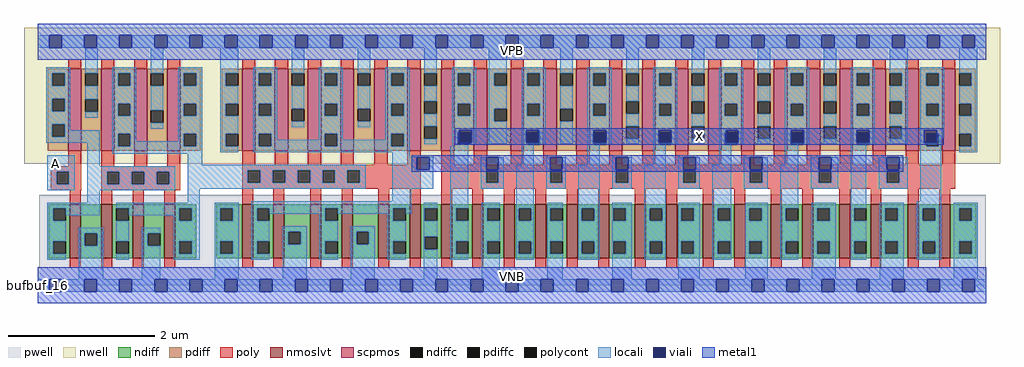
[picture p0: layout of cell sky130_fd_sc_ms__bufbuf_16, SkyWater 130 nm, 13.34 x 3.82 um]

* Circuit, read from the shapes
.subckt sky130_fd_sc_ms__bufbuf_16 A VGND VNB VPB VPWR X
XM1 VGND A n1 VNB sky130_fd_pr__nfet_01v8_lvt w=0.74 l=0.15
XM2 n2 n1 VGND VNB sky130_fd_pr__nfet_01v8_lvt w=0.74 l=0.15 m=3
XM3 n3 n2 VGND VNB sky130_fd_pr__nfet_01v8_lvt w=0.74 l=0.15 m=6
XM4 X n3 VGND VNB sky130_fd_pr__nfet_01v8_lvt w=0.74 l=0.15 m=16
XM5 VPWR A n1 VPB sky130_fd_pr__pfet_01v8 w=1.12 l=0.18
XM6 n2 n1 VPWR VPB sky130_fd_pr__pfet_01v8 w=1.12 l=0.18 m=3
XM7 n3 n2 VPWR VPB sky130_fd_pr__pfet_01v8 w=1.12 l=0.18 m=6
XM8 X n3 VPWR VPB sky130_fd_pr__pfet_01v8 w=1.12 l=0.18 m=16
.ends

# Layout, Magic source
magic
tech sky130A
magscale 1 2
<< nwell >>
rect -38 332 2630 704
<< pwell >>
rect 4 49 2591 248
rect 0 0 2592 49
<< scpmos >>
rect 83 368 119 592
rect 173 368 209 592
rect 263 368 299 592
rect 353 368 389 592
rect 558 368 594 592
rect 648 368 684 592
rect 738 368 774 592
rect 828 368 864 592
rect 920 368 956 592
rect 1010 368 1046 592
rect 1102 368 1138 592
rect 1192 368 1228 592
rect 1292 368 1328 592
rect 1382 368 1418 592
rect 1472 368 1508 592
rect 1562 368 1598 592
rect 1652 368 1688 592
rect 1742 368 1778 592
rect 1832 368 1868 592
rect 1922 368 1958 592
rect 2012 368 2048 592
rect 2102 368 2138 592
rect 2192 368 2228 592
rect 2282 368 2318 592
rect 2372 368 2408 592
rect 2472 368 2508 592
<< nmoslvt >>
rect 87 74 117 222
rect 173 74 203 222
rect 259 74 289 222
rect 346 74 376 222
rect 558 74 588 222
rect 644 74 674 222
rect 744 74 774 222
rect 830 74 860 222
rect 930 74 960 222
rect 1016 74 1046 222
rect 1102 74 1132 222
rect 1188 74 1218 222
rect 1274 74 1304 222
rect 1360 74 1390 222
rect 1446 74 1476 222
rect 1532 74 1562 222
rect 1632 74 1662 222
rect 1718 74 1748 222
rect 1818 74 1848 222
rect 1904 74 1934 222
rect 2004 74 2034 222
rect 2090 74 2120 222
rect 2190 74 2220 222
rect 2276 74 2306 222
rect 2378 74 2408 222
rect 2464 74 2494 222
<< ndiff >>
rect 30 210 87 222
rect 30 176 42 210
rect 76 176 87 210
rect 30 120 87 176
rect 30 86 42 120
rect 76 86 87 120
rect 30 74 87 86
rect 117 142 173 222
rect 117 108 128 142
rect 162 108 173 142
rect 117 74 173 108
rect 203 210 259 222
rect 203 176 214 210
rect 248 176 259 210
rect 203 120 259 176
rect 203 86 214 120
rect 248 86 259 120
rect 203 74 259 86
rect 289 142 346 222
rect 289 108 300 142
rect 334 108 346 142
rect 289 74 346 108
rect 376 210 433 222
rect 376 176 387 210
rect 421 176 433 210
rect 376 120 433 176
rect 376 86 387 120
rect 421 86 433 120
rect 376 74 433 86
rect 487 210 558 222
rect 487 176 499 210
rect 533 176 558 210
rect 487 120 558 176
rect 487 86 499 120
rect 533 86 558 120
rect 487 74 558 86
rect 588 210 644 222
rect 588 176 599 210
rect 633 176 644 210
rect 588 120 644 176
rect 588 86 599 120
rect 633 86 644 120
rect 588 74 644 86
rect 674 146 744 222
rect 674 112 685 146
rect 719 112 744 146
rect 674 74 744 112
rect 774 210 830 222
rect 774 176 785 210
rect 819 176 830 210
rect 774 120 830 176
rect 774 86 785 120
rect 819 86 830 120
rect 774 74 830 86
rect 860 146 930 222
rect 860 112 871 146
rect 905 112 930 146
rect 860 74 930 112
rect 960 210 1016 222
rect 960 176 971 210
rect 1005 176 1016 210
rect 960 120 1016 176
rect 960 86 971 120
rect 1005 86 1016 120
rect 960 74 1016 86
rect 1046 210 1102 222
rect 1046 176 1057 210
rect 1091 176 1102 210
rect 1046 133 1102 176
rect 1046 99 1057 133
rect 1091 99 1102 133
rect 1046 74 1102 99
rect 1132 210 1188 222
rect 1132 176 1143 210
rect 1177 176 1188 210
rect 1132 120 1188 176
rect 1132 86 1143 120
rect 1177 86 1188 120
rect 1132 74 1188 86
rect 1218 210 1274 222
rect 1218 176 1229 210
rect 1263 176 1274 210
rect 1218 120 1274 176
rect 1218 86 1229 120
rect 1263 86 1274 120
rect 1218 74 1274 86
rect 1304 210 1360 222
rect 1304 176 1315 210
rect 1349 176 1360 210
rect 1304 120 1360 176
rect 1304 86 1315 120
rect 1349 86 1360 120
rect 1304 74 1360 86
rect 1390 210 1446 222
rect 1390 176 1401 210
rect 1435 176 1446 210
rect 1390 120 1446 176
rect 1390 86 1401 120
rect 1435 86 1446 120
rect 1390 74 1446 86
rect 1476 210 1532 222
rect 1476 176 1487 210
rect 1521 176 1532 210
rect 1476 120 1532 176
rect 1476 86 1487 120
rect 1521 86 1532 120
rect 1476 74 1532 86
rect 1562 210 1632 222
rect 1562 176 1573 210
rect 1607 176 1632 210
rect 1562 120 1632 176
rect 1562 86 1573 120
rect 1607 86 1632 120
rect 1562 74 1632 86
rect 1662 210 1718 222
rect 1662 176 1673 210
rect 1707 176 1718 210
rect 1662 120 1718 176
rect 1662 86 1673 120
rect 1707 86 1718 120
rect 1662 74 1718 86
rect 1748 210 1818 222
rect 1748 176 1759 210
rect 1793 176 1818 210
rect 1748 120 1818 176
rect 1748 86 1759 120
rect 1793 86 1818 120
rect 1748 74 1818 86
rect 1848 210 1904 222
rect 1848 176 1859 210
rect 1893 176 1904 210
rect 1848 120 1904 176
rect 1848 86 1859 120
rect 1893 86 1904 120
rect 1848 74 1904 86
rect 1934 210 2004 222
rect 1934 176 1945 210
rect 1979 176 2004 210
rect 1934 120 2004 176
rect 1934 86 1945 120
rect 1979 86 2004 120
rect 1934 74 2004 86
rect 2034 210 2090 222
rect 2034 176 2045 210
rect 2079 176 2090 210
rect 2034 120 2090 176
rect 2034 86 2045 120
rect 2079 86 2090 120
rect 2034 74 2090 86
rect 2120 210 2190 222
rect 2120 176 2131 210
rect 2165 176 2190 210
rect 2120 120 2190 176
rect 2120 86 2131 120
rect 2165 86 2190 120
rect 2120 74 2190 86
rect 2220 210 2276 222
rect 2220 176 2231 210
rect 2265 176 2276 210
rect 2220 120 2276 176
rect 2220 86 2231 120
rect 2265 86 2276 120
rect 2220 74 2276 86
rect 2306 210 2378 222
rect 2306 176 2317 210
rect 2351 176 2378 210
rect 2306 120 2378 176
rect 2306 86 2317 120
rect 2351 86 2378 120
rect 2306 74 2378 86
rect 2408 210 2464 222
rect 2408 176 2419 210
rect 2453 176 2464 210
rect 2408 120 2464 176
rect 2408 86 2419 120
rect 2453 86 2464 120
rect 2408 74 2464 86
rect 2494 210 2565 222
rect 2494 176 2519 210
rect 2553 176 2565 210
rect 2494 120 2565 176
rect 2494 86 2519 120
rect 2553 86 2565 120
rect 2494 74 2565 86
<< pdiff >>
rect 27 580 83 592
rect 27 546 39 580
rect 73 546 83 580
rect 27 510 83 546
rect 27 476 39 510
rect 73 476 83 510
rect 27 440 83 476
rect 27 406 39 440
rect 73 406 83 440
rect 27 368 83 406
rect 119 580 173 592
rect 119 546 129 580
rect 163 546 173 580
rect 119 508 173 546
rect 119 474 129 508
rect 163 474 173 508
rect 119 368 173 474
rect 209 580 263 592
rect 209 546 219 580
rect 253 546 263 580
rect 209 497 263 546
rect 209 463 219 497
rect 253 463 263 497
rect 209 414 263 463
rect 209 380 219 414
rect 253 380 263 414
rect 209 368 263 380
rect 299 580 353 592
rect 299 546 309 580
rect 343 546 353 580
rect 299 478 353 546
rect 299 444 309 478
rect 343 444 353 478
rect 299 368 353 444
rect 389 580 445 592
rect 389 546 399 580
rect 433 546 445 580
rect 389 497 445 546
rect 389 463 399 497
rect 433 463 445 497
rect 389 414 445 463
rect 389 380 399 414
rect 433 380 445 414
rect 389 368 445 380
rect 502 580 558 592
rect 502 546 514 580
rect 548 546 558 580
rect 502 497 558 546
rect 502 463 514 497
rect 548 463 558 497
rect 502 414 558 463
rect 502 380 514 414
rect 548 380 558 414
rect 502 368 558 380
rect 594 580 648 592
rect 594 546 604 580
rect 638 546 648 580
rect 594 497 648 546
rect 594 463 604 497
rect 638 463 648 497
rect 594 414 648 463
rect 594 380 604 414
rect 638 380 648 414
rect 594 368 648 380
rect 684 580 738 592
rect 684 546 694 580
rect 728 546 738 580
rect 684 482 738 546
rect 684 448 694 482
rect 728 448 738 482
rect 684 368 738 448
rect 774 580 828 592
rect 774 546 784 580
rect 818 546 828 580
rect 774 497 828 546
rect 774 463 784 497
rect 818 463 828 497
rect 774 414 828 463
rect 774 380 784 414
rect 818 380 828 414
rect 774 368 828 380
rect 864 580 920 592
rect 864 546 874 580
rect 908 546 920 580
rect 864 482 920 546
rect 864 448 874 482
rect 908 448 920 482
rect 864 368 920 448
rect 956 580 1010 592
rect 956 546 966 580
rect 1000 546 1010 580
rect 956 497 1010 546
rect 956 463 966 497
rect 1000 463 1010 497
rect 956 414 1010 463
rect 956 380 966 414
rect 1000 380 1010 414
rect 956 368 1010 380
rect 1046 580 1102 592
rect 1046 546 1056 580
rect 1090 546 1102 580
rect 1046 503 1102 546
rect 1046 469 1056 503
rect 1090 469 1102 503
rect 1046 435 1102 469
rect 1046 401 1056 435
rect 1090 401 1102 435
rect 1046 368 1102 401
rect 1138 580 1192 592
rect 1138 546 1148 580
rect 1182 546 1192 580
rect 1138 497 1192 546
rect 1138 463 1148 497
rect 1182 463 1192 497
rect 1138 419 1192 463
rect 1138 385 1148 419
rect 1182 385 1192 419
rect 1138 368 1192 385
rect 1228 580 1292 592
rect 1228 546 1248 580
rect 1282 546 1292 580
rect 1228 482 1292 546
rect 1228 448 1248 482
rect 1282 448 1292 482
rect 1228 368 1292 448
rect 1328 580 1382 592
rect 1328 546 1338 580
rect 1372 546 1382 580
rect 1328 497 1382 546
rect 1328 463 1338 497
rect 1372 463 1382 497
rect 1328 418 1382 463
rect 1328 384 1338 418
rect 1372 384 1382 418
rect 1328 368 1382 384
rect 1418 580 1472 592
rect 1418 546 1428 580
rect 1462 546 1472 580
rect 1418 482 1472 546
rect 1418 448 1428 482
rect 1462 448 1472 482
rect 1418 368 1472 448
rect 1508 580 1562 592
rect 1508 546 1518 580
rect 1552 546 1562 580
rect 1508 497 1562 546
rect 1508 463 1518 497
rect 1552 463 1562 497
rect 1508 418 1562 463
rect 1508 384 1518 418
rect 1552 384 1562 418
rect 1508 368 1562 384
rect 1598 580 1652 592
rect 1598 546 1608 580
rect 1642 546 1652 580
rect 1598 503 1652 546
rect 1598 469 1608 503
rect 1642 469 1652 503
rect 1598 435 1652 469
rect 1598 401 1608 435
rect 1642 401 1652 435
rect 1598 368 1652 401
rect 1688 580 1742 592
rect 1688 546 1698 580
rect 1732 546 1742 580
rect 1688 497 1742 546
rect 1688 463 1698 497
rect 1732 463 1742 497
rect 1688 418 1742 463
rect 1688 384 1698 418
rect 1732 384 1742 418
rect 1688 368 1742 384
rect 1778 580 1832 592
rect 1778 546 1788 580
rect 1822 546 1832 580
rect 1778 503 1832 546
rect 1778 469 1788 503
rect 1822 469 1832 503
rect 1778 435 1832 469
rect 1778 401 1788 435
rect 1822 401 1832 435
rect 1778 368 1832 401
rect 1868 580 1922 592
rect 1868 546 1878 580
rect 1912 546 1922 580
rect 1868 497 1922 546
rect 1868 463 1878 497
rect 1912 463 1922 497
rect 1868 418 1922 463
rect 1868 384 1878 418
rect 1912 384 1922 418
rect 1868 368 1922 384
rect 1958 580 2012 592
rect 1958 546 1968 580
rect 2002 546 2012 580
rect 1958 503 2012 546
rect 1958 469 1968 503
rect 2002 469 2012 503
rect 1958 435 2012 469
rect 1958 401 1968 435
rect 2002 401 2012 435
rect 1958 368 2012 401
rect 2048 580 2102 592
rect 2048 546 2058 580
rect 2092 546 2102 580
rect 2048 497 2102 546
rect 2048 463 2058 497
rect 2092 463 2102 497
rect 2048 418 2102 463
rect 2048 384 2058 418
rect 2092 384 2102 418
rect 2048 368 2102 384
rect 2138 580 2192 592
rect 2138 546 2148 580
rect 2182 546 2192 580
rect 2138 503 2192 546
rect 2138 469 2148 503
rect 2182 469 2192 503
rect 2138 435 2192 469
rect 2138 401 2148 435
rect 2182 401 2192 435
rect 2138 368 2192 401
rect 2228 580 2282 592
rect 2228 546 2238 580
rect 2272 546 2282 580
rect 2228 497 2282 546
rect 2228 463 2238 497
rect 2272 463 2282 497
rect 2228 418 2282 463
rect 2228 384 2238 418
rect 2272 384 2282 418
rect 2228 368 2282 384
rect 2318 580 2372 592
rect 2318 546 2328 580
rect 2362 546 2372 580
rect 2318 503 2372 546
rect 2318 469 2328 503
rect 2362 469 2372 503
rect 2318 435 2372 469
rect 2318 401 2328 435
rect 2362 401 2372 435
rect 2318 368 2372 401
rect 2408 580 2472 592
rect 2408 546 2428 580
rect 2462 546 2472 580
rect 2408 497 2472 546
rect 2408 463 2428 497
rect 2462 463 2472 497
rect 2408 414 2472 463
rect 2408 380 2428 414
rect 2462 380 2472 414
rect 2408 368 2472 380
rect 2508 580 2564 592
rect 2508 546 2518 580
rect 2552 546 2564 580
rect 2508 497 2564 546
rect 2508 463 2518 497
rect 2552 463 2564 497
rect 2508 414 2564 463
rect 2508 380 2518 414
rect 2552 380 2564 414
rect 2508 368 2564 380
<< ndiffc >>
rect 42 176 76 210
rect 42 86 76 120
rect 128 108 162 142
rect 214 176 248 210
rect 214 86 248 120
rect 300 108 334 142
rect 387 176 421 210
rect 387 86 421 120
rect 499 176 533 210
rect 499 86 533 120
rect 599 176 633 210
rect 599 86 633 120
rect 685 112 719 146
rect 785 176 819 210
rect 785 86 819 120
rect 871 112 905 146
rect 971 176 1005 210
rect 971 86 1005 120
rect 1057 176 1091 210
rect 1057 99 1091 133
rect 1143 176 1177 210
rect 1143 86 1177 120
rect 1229 176 1263 210
rect 1229 86 1263 120
rect 1315 176 1349 210
rect 1315 86 1349 120
rect 1401 176 1435 210
rect 1401 86 1435 120
rect 1487 176 1521 210
rect 1487 86 1521 120
rect 1573 176 1607 210
rect 1573 86 1607 120
rect 1673 176 1707 210
rect 1673 86 1707 120
rect 1759 176 1793 210
rect 1759 86 1793 120
rect 1859 176 1893 210
rect 1859 86 1893 120
rect 1945 176 1979 210
rect 1945 86 1979 120
rect 2045 176 2079 210
rect 2045 86 2079 120
rect 2131 176 2165 210
rect 2131 86 2165 120
rect 2231 176 2265 210
rect 2231 86 2265 120
rect 2317 176 2351 210
rect 2317 86 2351 120
rect 2419 176 2453 210
rect 2419 86 2453 120
rect 2519 176 2553 210
rect 2519 86 2553 120
<< pdiffc >>
rect 39 546 73 580
rect 39 476 73 510
rect 39 406 73 440
rect 129 546 163 580
rect 129 474 163 508
rect 219 546 253 580
rect 219 463 253 497
rect 219 380 253 414
rect 309 546 343 580
rect 309 444 343 478
rect 399 546 433 580
rect 399 463 433 497
rect 399 380 433 414
rect 514 546 548 580
rect 514 463 548 497
rect 514 380 548 414
rect 604 546 638 580
rect 604 463 638 497
rect 604 380 638 414
rect 694 546 728 580
rect 694 448 728 482
rect 784 546 818 580
rect 784 463 818 497
rect 784 380 818 414
rect 874 546 908 580
rect 874 448 908 482
rect 966 546 1000 580
rect 966 463 1000 497
rect 966 380 1000 414
rect 1056 546 1090 580
rect 1056 469 1090 503
rect 1056 401 1090 435
rect 1148 546 1182 580
rect 1148 463 1182 497
rect 1148 385 1182 419
rect 1248 546 1282 580
rect 1248 448 1282 482
rect 1338 546 1372 580
rect 1338 463 1372 497
rect 1338 384 1372 418
rect 1428 546 1462 580
rect 1428 448 1462 482
rect 1518 546 1552 580
rect 1518 463 1552 497
rect 1518 384 1552 418
rect 1608 546 1642 580
rect 1608 469 1642 503
rect 1608 401 1642 435
rect 1698 546 1732 580
rect 1698 463 1732 497
rect 1698 384 1732 418
rect 1788 546 1822 580
rect 1788 469 1822 503
rect 1788 401 1822 435
rect 1878 546 1912 580
rect 1878 463 1912 497
rect 1878 384 1912 418
rect 1968 546 2002 580
rect 1968 469 2002 503
rect 1968 401 2002 435
rect 2058 546 2092 580
rect 2058 463 2092 497
rect 2058 384 2092 418
rect 2148 546 2182 580
rect 2148 469 2182 503
rect 2148 401 2182 435
rect 2238 546 2272 580
rect 2238 463 2272 497
rect 2238 384 2272 418
rect 2328 546 2362 580
rect 2328 469 2362 503
rect 2328 401 2362 435
rect 2428 546 2462 580
rect 2428 463 2462 497
rect 2428 380 2462 414
rect 2518 546 2552 580
rect 2518 463 2552 497
rect 2518 380 2552 414
<< poly >>
rect 83 592 119 618
rect 173 592 209 618
rect 263 592 299 618
rect 353 592 389 618
rect 558 592 594 618
rect 648 592 684 618
rect 738 592 774 618
rect 828 592 864 618
rect 920 592 956 618
rect 1010 592 1046 618
rect 1102 592 1138 618
rect 1192 592 1228 618
rect 1292 592 1328 618
rect 1382 592 1418 618
rect 1472 592 1508 618
rect 1562 592 1598 618
rect 1652 592 1688 618
rect 1742 592 1778 618
rect 1832 592 1868 618
rect 1922 592 1958 618
rect 2012 592 2048 618
rect 2102 592 2138 618
rect 2192 592 2228 618
rect 2282 592 2318 618
rect 2372 592 2408 618
rect 2472 592 2508 618
rect 83 326 119 368
rect 35 310 119 326
rect 35 276 51 310
rect 85 276 119 310
rect 35 260 119 276
rect 173 326 209 368
rect 263 326 299 368
rect 353 326 389 368
rect 173 310 389 326
rect 173 276 189 310
rect 223 276 257 310
rect 291 276 325 310
rect 359 276 389 310
rect 173 260 389 276
rect 558 330 594 368
rect 648 330 684 368
rect 738 330 774 368
rect 828 330 864 368
rect 920 330 956 368
rect 1010 330 1046 368
rect 558 314 1046 330
rect 558 280 574 314
rect 608 280 642 314
rect 676 280 710 314
rect 744 280 778 314
rect 812 280 846 314
rect 880 280 1046 314
rect 558 264 1046 280
rect 87 222 117 260
rect 173 222 203 260
rect 259 222 289 260
rect 346 222 376 260
rect 558 222 588 264
rect 644 222 674 264
rect 744 222 774 264
rect 830 222 860 264
rect 930 222 960 264
rect 1016 222 1046 264
rect 1102 330 1138 368
rect 1192 330 1228 368
rect 1292 330 1328 368
rect 1382 330 1418 368
rect 1472 330 1508 368
rect 1562 330 1598 368
rect 1652 330 1688 368
rect 1742 330 1778 368
rect 1832 330 1868 368
rect 1922 330 1958 368
rect 2012 330 2048 368
rect 2102 330 2138 368
rect 2192 330 2228 368
rect 2282 330 2318 368
rect 2372 330 2408 368
rect 2472 330 2508 368
rect 1102 314 2508 330
rect 1102 280 1225 314
rect 1259 280 1400 314
rect 1434 280 1580 314
rect 1614 280 1764 314
rect 1798 280 1946 314
rect 1980 280 2135 314
rect 2169 280 2320 314
rect 2354 280 2508 314
rect 1102 264 2508 280
rect 1102 222 1132 264
rect 1188 222 1218 264
rect 1274 222 1304 264
rect 1360 222 1390 264
rect 1446 222 1476 264
rect 1532 222 1562 264
rect 1632 222 1662 264
rect 1718 222 1748 264
rect 1818 222 1848 264
rect 1904 222 1934 264
rect 2004 222 2034 264
rect 2090 222 2120 264
rect 2190 222 2220 264
rect 2276 222 2306 264
rect 2378 222 2408 264
rect 2464 222 2494 264
rect 87 48 117 74
rect 173 48 203 74
rect 259 48 289 74
rect 346 48 376 74
rect 558 48 588 74
rect 644 48 674 74
rect 744 48 774 74
rect 830 48 860 74
rect 930 48 960 74
rect 1016 48 1046 74
rect 1102 48 1132 74
rect 1188 48 1218 74
rect 1274 48 1304 74
rect 1360 48 1390 74
rect 1446 48 1476 74
rect 1532 48 1562 74
rect 1632 48 1662 74
rect 1718 48 1748 74
rect 1818 48 1848 74
rect 1904 48 1934 74
rect 2004 48 2034 74
rect 2090 48 2120 74
rect 2190 48 2220 74
rect 2276 48 2306 74
rect 2378 48 2408 74
rect 2464 48 2494 74
<< polycont >>
rect 51 276 85 310
rect 189 276 223 310
rect 257 276 291 310
rect 325 276 359 310
rect 574 280 608 314
rect 642 280 676 314
rect 710 280 744 314
rect 778 280 812 314
rect 846 280 880 314
rect 1225 280 1259 314
rect 1400 280 1434 314
rect 1580 280 1614 314
rect 1764 280 1798 314
rect 1946 280 1980 314
rect 2135 280 2169 314
rect 2320 280 2354 314
<< locali >>
rect 0 649 31 683
rect 65 649 127 683
rect 161 649 223 683
rect 257 649 319 683
rect 353 649 415 683
rect 449 649 511 683
rect 545 649 607 683
rect 641 649 703 683
rect 737 649 799 683
rect 833 649 895 683
rect 929 649 991 683
rect 1025 649 1087 683
rect 1121 649 1183 683
rect 1217 649 1279 683
rect 1313 649 1375 683
rect 1409 649 1471 683
rect 1505 649 1567 683
rect 1601 649 1663 683
rect 1697 649 1759 683
rect 1793 649 1855 683
rect 1889 649 1951 683
rect 1985 649 2047 683
rect 2081 649 2143 683
rect 2177 649 2239 683
rect 2273 649 2335 683
rect 2369 649 2431 683
rect 2465 649 2527 683
rect 2561 649 2592 683
rect 23 580 89 596
rect 23 546 39 580
rect 73 546 89 580
rect 23 510 89 546
rect 23 476 39 510
rect 73 476 89 510
rect 23 440 89 476
rect 129 580 163 649
rect 129 508 163 546
rect 129 458 163 474
rect 203 580 269 596
rect 203 546 219 580
rect 253 546 269 580
rect 203 497 269 546
rect 203 463 219 497
rect 253 463 269 497
rect 23 406 39 440
rect 73 424 89 440
rect 73 406 169 424
rect 23 390 169 406
rect 25 310 101 356
rect 25 276 51 310
rect 85 276 101 310
rect 25 260 101 276
rect 135 326 169 390
rect 203 414 269 463
rect 309 580 343 649
rect 309 478 343 546
rect 309 428 343 444
rect 383 580 449 596
rect 383 546 399 580
rect 433 546 449 580
rect 383 497 449 546
rect 383 463 399 497
rect 433 463 449 497
rect 203 380 219 414
rect 253 394 269 414
rect 383 414 449 463
rect 383 394 399 414
rect 253 380 399 394
rect 433 380 449 414
rect 203 360 449 380
rect 498 580 548 649
rect 498 546 514 580
rect 498 497 548 546
rect 498 463 514 497
rect 498 414 548 463
rect 498 380 514 414
rect 498 364 548 380
rect 588 580 654 596
rect 588 546 604 580
rect 638 546 654 580
rect 588 497 654 546
rect 588 463 604 497
rect 638 463 654 497
rect 588 414 654 463
rect 694 580 728 649
rect 694 482 728 546
rect 694 432 728 448
rect 768 580 834 596
rect 768 546 784 580
rect 818 546 834 580
rect 768 497 834 546
rect 768 463 784 497
rect 818 463 834 497
rect 588 380 604 414
rect 638 398 654 414
rect 768 414 834 463
rect 874 580 908 649
rect 874 482 908 546
rect 874 432 908 448
rect 950 580 1016 596
rect 950 546 966 580
rect 1000 546 1016 580
rect 950 497 1016 546
rect 950 463 966 497
rect 1000 463 1016 497
rect 768 398 784 414
rect 638 380 784 398
rect 818 398 834 414
rect 950 414 1016 463
rect 950 398 966 414
rect 818 380 966 398
rect 1000 380 1016 414
rect 1056 580 1090 649
rect 1056 503 1090 546
rect 1056 435 1090 469
rect 1056 385 1090 401
rect 1132 580 1198 596
rect 1132 546 1148 580
rect 1182 546 1198 580
rect 1132 497 1198 546
rect 1132 463 1148 497
rect 1182 463 1198 497
rect 1132 424 1198 463
rect 1132 419 1152 424
rect 1132 385 1148 419
rect 1186 390 1198 424
rect 1182 385 1198 390
rect 1232 580 1282 649
rect 1232 546 1248 580
rect 1232 482 1282 546
rect 1232 448 1248 482
rect 1232 385 1282 448
rect 1322 580 1388 596
rect 1322 546 1338 580
rect 1372 546 1388 580
rect 1322 497 1388 546
rect 1322 463 1338 497
rect 1372 463 1388 497
rect 1322 424 1388 463
rect 1322 390 1335 424
rect 1369 418 1388 424
rect 1132 384 1198 385
rect 1322 384 1338 390
rect 1372 384 1388 418
rect 1428 580 1462 649
rect 1428 482 1462 546
rect 1428 385 1462 448
rect 1502 580 1568 596
rect 1502 546 1518 580
rect 1552 546 1568 580
rect 1502 497 1568 546
rect 1502 463 1518 497
rect 1552 463 1568 497
rect 1502 424 1568 463
rect 1502 418 1519 424
rect 1502 384 1518 418
rect 1553 390 1568 424
rect 1552 384 1568 390
rect 1608 580 1642 649
rect 1608 503 1642 546
rect 1608 435 1642 469
rect 1608 385 1642 401
rect 1682 580 1748 596
rect 1682 546 1698 580
rect 1732 546 1748 580
rect 1682 497 1748 546
rect 1682 463 1698 497
rect 1732 463 1748 497
rect 1682 424 1748 463
rect 1682 390 1697 424
rect 1731 418 1748 424
rect 1682 384 1698 390
rect 1732 384 1748 418
rect 1788 580 1822 649
rect 1788 503 1822 546
rect 1788 435 1822 469
rect 1788 385 1822 401
rect 1862 580 1928 596
rect 1862 546 1878 580
rect 1912 546 1928 580
rect 1862 497 1928 546
rect 1862 463 1878 497
rect 1912 463 1928 497
rect 1862 424 1928 463
rect 1862 418 1881 424
rect 1862 384 1878 418
rect 1915 390 1928 424
rect 1912 384 1928 390
rect 1968 580 2002 649
rect 1968 503 2002 546
rect 1968 435 2002 469
rect 1968 385 2002 401
rect 2042 580 2108 596
rect 2042 546 2058 580
rect 2092 546 2108 580
rect 2042 497 2108 546
rect 2042 463 2058 497
rect 2092 463 2108 497
rect 2042 424 2108 463
rect 2042 418 2059 424
rect 2042 384 2058 418
rect 2093 390 2108 424
rect 2092 384 2108 390
rect 2148 580 2182 649
rect 2148 503 2182 546
rect 2148 435 2182 469
rect 2148 385 2182 401
rect 2222 580 2288 596
rect 2222 546 2238 580
rect 2272 546 2288 580
rect 2222 497 2288 546
rect 2222 463 2238 497
rect 2272 463 2288 497
rect 2222 424 2288 463
rect 2222 418 2239 424
rect 2222 384 2238 418
rect 2273 390 2288 424
rect 2272 384 2288 390
rect 2328 580 2378 649
rect 2362 546 2378 580
rect 2328 503 2378 546
rect 2362 469 2378 503
rect 2328 435 2378 469
rect 2362 401 2378 435
rect 2328 385 2378 401
rect 2412 580 2478 596
rect 2412 546 2428 580
rect 2462 546 2478 580
rect 2412 497 2478 546
rect 2412 463 2428 497
rect 2462 463 2478 497
rect 2412 424 2478 463
rect 2412 390 2423 424
rect 2457 414 2478 424
rect 2462 404 2478 414
rect 2518 580 2568 649
rect 2552 546 2568 580
rect 2518 497 2568 546
rect 2552 463 2568 497
rect 2518 414 2568 463
rect 1132 380 1177 384
rect 588 364 1016 380
rect 409 330 449 360
rect 969 351 1016 364
rect 969 350 1081 351
rect 135 310 375 326
rect 135 276 189 310
rect 223 276 257 310
rect 291 276 325 310
rect 359 276 375 310
rect 135 260 375 276
rect 409 314 896 330
rect 409 280 574 314
rect 608 280 642 314
rect 676 280 710 314
rect 744 280 778 314
rect 812 280 846 314
rect 880 280 896 314
rect 409 264 896 280
rect 969 316 1036 350
rect 1070 316 1081 350
rect 969 264 1081 316
rect 135 226 169 260
rect 409 226 443 264
rect 969 230 1021 264
rect 26 210 169 226
rect 26 176 42 210
rect 76 192 169 210
rect 214 210 443 226
rect 26 120 76 176
rect 248 192 387 210
rect 26 86 42 120
rect 26 70 76 86
rect 112 142 178 158
rect 112 108 128 142
rect 162 108 178 142
rect 112 17 178 108
rect 214 120 248 176
rect 371 176 387 192
rect 421 176 443 210
rect 214 70 248 86
rect 284 142 334 158
rect 284 108 300 142
rect 284 17 334 108
rect 371 120 443 176
rect 371 86 387 120
rect 421 86 443 120
rect 371 70 443 86
rect 483 210 549 226
rect 483 176 499 210
rect 533 176 549 210
rect 483 120 549 176
rect 483 86 499 120
rect 533 86 549 120
rect 483 17 549 86
rect 583 210 1021 230
rect 583 176 599 210
rect 633 196 785 210
rect 583 120 633 176
rect 769 176 785 196
rect 819 196 971 210
rect 583 86 599 120
rect 583 70 633 86
rect 669 146 735 162
rect 669 112 685 146
rect 719 112 735 146
rect 669 17 735 112
rect 769 120 819 176
rect 955 176 971 196
rect 1005 196 1021 210
rect 1055 210 1091 226
rect 769 86 785 120
rect 769 70 819 86
rect 855 146 921 162
rect 855 112 871 146
rect 905 112 921 146
rect 855 17 921 112
rect 955 120 1005 176
rect 955 86 971 120
rect 955 70 1005 86
rect 1055 176 1057 210
rect 1055 133 1091 176
rect 1055 99 1057 133
rect 1055 17 1091 99
rect 1127 210 1177 380
rect 1211 316 1225 350
rect 1259 316 1273 350
rect 1322 330 1356 384
rect 1211 314 1273 316
rect 1211 280 1225 314
rect 1259 280 1273 314
rect 1211 264 1273 280
rect 1127 176 1143 210
rect 1127 120 1177 176
rect 1127 86 1143 120
rect 1127 70 1177 86
rect 1213 210 1263 226
rect 1213 176 1229 210
rect 1213 120 1263 176
rect 1213 86 1229 120
rect 1213 17 1263 86
rect 1307 210 1356 330
rect 1390 316 1400 350
rect 1434 316 1443 350
rect 1502 330 1536 384
rect 1390 314 1443 316
rect 1390 280 1400 314
rect 1434 280 1443 314
rect 1390 264 1443 280
rect 1307 176 1315 210
rect 1349 176 1356 210
rect 1307 120 1356 176
rect 1307 86 1315 120
rect 1349 86 1356 120
rect 1307 70 1356 86
rect 1392 210 1435 226
rect 1392 176 1401 210
rect 1392 120 1435 176
rect 1392 86 1401 120
rect 1392 17 1435 86
rect 1477 210 1536 330
rect 1570 316 1580 350
rect 1614 316 1623 350
rect 1682 330 1716 384
rect 1570 314 1623 316
rect 1570 280 1580 314
rect 1614 280 1623 314
rect 1570 264 1623 280
rect 1477 176 1487 210
rect 1521 176 1536 210
rect 1477 120 1536 176
rect 1477 86 1487 120
rect 1521 86 1536 120
rect 1477 70 1536 86
rect 1570 210 1623 226
rect 1570 176 1573 210
rect 1607 176 1623 210
rect 1570 120 1623 176
rect 1570 86 1573 120
rect 1607 86 1623 120
rect 1570 17 1623 86
rect 1657 210 1716 330
rect 1750 316 1764 350
rect 1798 316 1809 350
rect 1862 330 1896 384
rect 1750 314 1809 316
rect 1750 280 1764 314
rect 1798 280 1809 314
rect 1750 264 1809 280
rect 1657 176 1673 210
rect 1707 176 1716 210
rect 1657 120 1716 176
rect 1657 86 1673 120
rect 1707 86 1716 120
rect 1657 70 1716 86
rect 1750 210 1809 226
rect 1750 176 1759 210
rect 1793 176 1809 210
rect 1750 120 1809 176
rect 1750 86 1759 120
rect 1793 86 1809 120
rect 1750 17 1809 86
rect 1843 210 1896 330
rect 1930 316 1946 350
rect 1980 316 1995 350
rect 2042 330 2079 384
rect 1930 314 1995 316
rect 1930 280 1946 314
rect 1980 280 1995 314
rect 1930 264 1995 280
rect 1843 176 1859 210
rect 1893 176 1896 210
rect 1843 120 1896 176
rect 1843 86 1859 120
rect 1893 86 1896 120
rect 1843 70 1896 86
rect 1933 210 1995 226
rect 1933 176 1945 210
rect 1979 176 1995 210
rect 1933 120 1995 176
rect 1933 86 1945 120
rect 1979 86 1995 120
rect 1933 17 1995 86
rect 2029 210 2079 330
rect 2113 316 2135 350
rect 2169 316 2188 350
rect 2113 314 2188 316
rect 2113 280 2135 314
rect 2169 280 2188 314
rect 2113 264 2188 280
rect 2029 176 2045 210
rect 2029 120 2079 176
rect 2029 86 2045 120
rect 2029 70 2079 86
rect 2115 210 2181 226
rect 2115 176 2131 210
rect 2165 176 2181 210
rect 2115 120 2181 176
rect 2115 86 2131 120
rect 2165 86 2181 120
rect 2115 17 2181 86
rect 2222 210 2265 384
rect 2412 380 2428 390
rect 2462 380 2469 404
rect 2299 316 2320 350
rect 2354 316 2378 350
rect 2299 314 2378 316
rect 2299 280 2320 314
rect 2354 280 2378 314
rect 2299 264 2378 280
rect 2412 230 2469 380
rect 2552 380 2568 414
rect 2518 364 2568 380
rect 2222 176 2231 210
rect 2222 120 2265 176
rect 2222 86 2231 120
rect 2222 70 2265 86
rect 2301 210 2367 226
rect 2301 176 2317 210
rect 2351 176 2367 210
rect 2301 120 2367 176
rect 2301 86 2317 120
rect 2351 86 2367 120
rect 2301 17 2367 86
rect 2403 210 2469 230
rect 2403 176 2419 210
rect 2453 176 2469 210
rect 2403 120 2469 176
rect 2403 86 2419 120
rect 2453 86 2469 120
rect 2403 70 2469 86
rect 2503 210 2569 226
rect 2503 176 2519 210
rect 2553 176 2569 210
rect 2503 120 2569 176
rect 2503 86 2519 120
rect 2553 86 2569 120
rect 2503 17 2569 86
rect 0 -17 31 17
rect 65 -17 127 17
rect 161 -17 223 17
rect 257 -17 319 17
rect 353 -17 415 17
rect 449 -17 511 17
rect 545 -17 607 17
rect 641 -17 703 17
rect 737 -17 799 17
rect 833 -17 895 17
rect 929 -17 991 17
rect 1025 -17 1087 17
rect 1121 -17 1183 17
rect 1217 -17 1279 17
rect 1313 -17 1375 17
rect 1409 -17 1471 17
rect 1505 -17 1567 17
rect 1601 -17 1663 17
rect 1697 -17 1759 17
rect 1793 -17 1855 17
rect 1889 -17 1951 17
rect 1985 -17 2047 17
rect 2081 -17 2143 17
rect 2177 -17 2239 17
rect 2273 -17 2335 17
rect 2369 -17 2431 17
rect 2465 -17 2527 17
rect 2561 -17 2592 17
<< viali >>
rect 31 649 65 683
rect 127 649 161 683
rect 223 649 257 683
rect 319 649 353 683
rect 415 649 449 683
rect 511 649 545 683
rect 607 649 641 683
rect 703 649 737 683
rect 799 649 833 683
rect 895 649 929 683
rect 991 649 1025 683
rect 1087 649 1121 683
rect 1183 649 1217 683
rect 1279 649 1313 683
rect 1375 649 1409 683
rect 1471 649 1505 683
rect 1567 649 1601 683
rect 1663 649 1697 683
rect 1759 649 1793 683
rect 1855 649 1889 683
rect 1951 649 1985 683
rect 2047 649 2081 683
rect 2143 649 2177 683
rect 2239 649 2273 683
rect 2335 649 2369 683
rect 2431 649 2465 683
rect 2527 649 2561 683
rect 1152 419 1186 424
rect 1152 390 1182 419
rect 1182 390 1186 419
rect 1335 418 1369 424
rect 1335 390 1338 418
rect 1338 390 1369 418
rect 1519 418 1553 424
rect 1519 390 1552 418
rect 1552 390 1553 418
rect 1697 418 1731 424
rect 1697 390 1698 418
rect 1698 390 1731 418
rect 1881 418 1915 424
rect 1881 390 1912 418
rect 1912 390 1915 418
rect 2059 418 2093 424
rect 2059 390 2092 418
rect 2092 390 2093 418
rect 2239 418 2273 424
rect 2239 390 2272 418
rect 2272 390 2273 418
rect 2423 414 2457 424
rect 2423 390 2428 414
rect 2428 390 2457 414
rect 1036 316 1070 350
rect 1225 316 1259 350
rect 1400 316 1434 350
rect 1580 316 1614 350
rect 1764 316 1798 350
rect 1946 316 1980 350
rect 2135 316 2169 350
rect 2320 316 2354 350
rect 31 -17 65 17
rect 127 -17 161 17
rect 223 -17 257 17
rect 319 -17 353 17
rect 415 -17 449 17
rect 511 -17 545 17
rect 607 -17 641 17
rect 703 -17 737 17
rect 799 -17 833 17
rect 895 -17 929 17
rect 991 -17 1025 17
rect 1087 -17 1121 17
rect 1183 -17 1217 17
rect 1279 -17 1313 17
rect 1375 -17 1409 17
rect 1471 -17 1505 17
rect 1567 -17 1601 17
rect 1663 -17 1697 17
rect 1759 -17 1793 17
rect 1855 -17 1889 17
rect 1951 -17 1985 17
rect 2047 -17 2081 17
rect 2143 -17 2177 17
rect 2239 -17 2273 17
rect 2335 -17 2369 17
rect 2431 -17 2465 17
rect 2527 -17 2561 17
<< metal1 >>
rect 0 683 2592 715
rect 0 649 31 683
rect 65 649 127 683
rect 161 649 223 683
rect 257 649 319 683
rect 353 649 415 683
rect 449 649 511 683
rect 545 649 607 683
rect 641 649 703 683
rect 737 649 799 683
rect 833 649 895 683
rect 929 649 991 683
rect 1025 649 1087 683
rect 1121 649 1183 683
rect 1217 649 1279 683
rect 1313 649 1375 683
rect 1409 649 1471 683
rect 1505 649 1567 683
rect 1601 649 1663 683
rect 1697 649 1759 683
rect 1793 649 1855 683
rect 1889 649 1951 683
rect 1985 649 2047 683
rect 2081 649 2143 683
rect 2177 649 2239 683
rect 2273 649 2335 683
rect 2369 649 2431 683
rect 2465 649 2527 683
rect 2561 649 2592 683
rect 0 617 2592 649
rect 1140 424 2476 430
rect 1140 390 1152 424
rect 1186 390 1335 424
rect 1369 390 1519 424
rect 1553 390 1697 424
rect 1731 390 1881 424
rect 1915 390 2059 424
rect 2093 390 2239 424
rect 2273 390 2423 424
rect 2457 390 2476 424
rect 1140 384 2476 390
rect 1022 350 2366 356
rect 1022 316 1036 350
rect 1070 316 1225 350
rect 1259 316 1400 350
rect 1434 316 1580 350
rect 1614 316 1764 350
rect 1798 316 1946 350
rect 1980 316 2135 350
rect 2169 316 2320 350
rect 2354 316 2366 350
rect 1022 310 2366 316
rect 0 17 2592 49
rect 0 -17 31 17
rect 65 -17 127 17
rect 161 -17 223 17
rect 257 -17 319 17
rect 353 -17 415 17
rect 449 -17 511 17
rect 545 -17 607 17
rect 641 -17 703 17
rect 737 -17 799 17
rect 833 -17 895 17
rect 929 -17 991 17
rect 1025 -17 1087 17
rect 1121 -17 1183 17
rect 1217 -17 1279 17
rect 1313 -17 1375 17
rect 1409 -17 1471 17
rect 1505 -17 1567 17
rect 1601 -17 1663 17
rect 1697 -17 1759 17
rect 1793 -17 1855 17
rect 1889 -17 1951 17
rect 1985 -17 2047 17
rect 2081 -17 2143 17
rect 2177 -17 2239 17
rect 2273 -17 2335 17
rect 2369 -17 2431 17
rect 2465 -17 2527 17
rect 2561 -17 2592 17
rect 0 -49 2592 -17
<< labels >>
flabel pwell s 0 0 2592 49 0 FreeSans 200 0 0 0 VNB
port 3 nsew ground bidirectional
flabel nwell s 0 617 2592 666 0 FreeSans 200 0 0 0 VPB
port 4 nsew power bidirectional
rlabel comment s 0 0 0 0 4 bufbuf_16
flabel metal1 s 1140 384 2476 430 0 FreeSans 400 0 0 0 X
port 6 nsew signal output
flabel metal1 s 0 617 2592 666 0 FreeSans 340 0 0 0 VPWR
port 5 nsew power bidirectional
flabel metal1 s 0 0 2592 49 0 FreeSans 340 0 0 0 VGND
port 2 nsew ground bidirectional
flabel locali s 31 316 65 350 0 FreeSans 340 0 0 0 A
port 1 nsew signal input
<< properties >>
string LEFsite unit
string LEFclass CORE
string FIXED_BBOX 0 0 2592 666
string GDS_FILE $PDKPATH/libs.ref/sky130_fd_sc_ms/gds/sky130_fd_sc_ms.gds
string LEFsymmetry X Y
string GDS_END 3853450
string GDS_START 3833102
<< end >>
